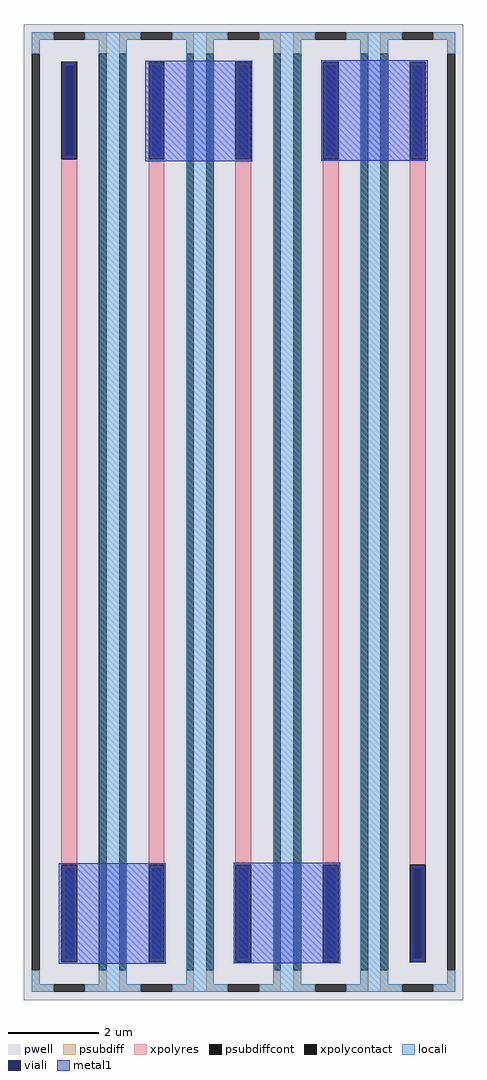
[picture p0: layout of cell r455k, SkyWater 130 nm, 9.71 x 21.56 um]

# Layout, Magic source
magic
tech sky130A
magscale 1 2
<< locali >>
rect -14634 -30902 -14514 -26662
rect -14252 -30902 -14132 -26662
rect -13866 -30902 -13746 -26662
rect -13482 -30902 -13362 -26662
<< metal1 >>
rect -14432 -27232 -13960 -26788
rect -13656 -27230 -13184 -26786
rect -14814 -30778 -14342 -30334
rect -14042 -30776 -13570 -30332
use sky130_fd_pr__res_xhigh_po_0p35_XJMT56  sky130_fd_pr__res_xhigh_po_0p35_XJMT56_1
transform 1 0 -14768 0 1 -28782
box -201 -2156 201 2156
use sky130_fd_pr__res_xhigh_po_0p35_XJMT56  sky130_fd_pr__res_xhigh_po_0p35_XJMT56_2
transform 1 0 -14383 0 1 -28782
box -201 -2156 201 2156
use sky130_fd_pr__res_xhigh_po_0p35_XJMT56  sky130_fd_pr__res_xhigh_po_0p35_XJMT56_3
transform 1 0 -13999 0 1 -28782
box -201 -2156 201 2156
use sky130_fd_pr__res_xhigh_po_0p35_XJMT56  sky130_fd_pr__res_xhigh_po_0p35_XJMT56_4
transform 1 0 -13613 0 1 -28782
box -201 -2156 201 2156
use sky130_fd_pr__res_xhigh_po_0p35_XJMT56  sky130_fd_pr__res_xhigh_po_0p35_XJMT56_5
transform 1 0 -13229 0 1 -28782
box -201 -2156 201 2156
<< end >>

# cell sky130_fd_pr__res_xhigh_po_0p35_XJMT56: kit device sky130_fd_pr__res_xhigh_po_0p35, w 0.350 l 15.74 m 1 nx 1 wmin 0.350 lmin 0.50 class resistor rho 2000 val 91.018k dummy 0 dw 0.0 term 188.2 sterm 0.0 caplen 0 wmax 0.350 guard 1 glc 1 grc 1 gtc 1 gbc 1 compatible {sky130_fd_pr__res_xhigh_po_0p35 sky130_fd_pr__res_xhigh_po_0p69 sky130_fd_pr__res_xhigh_po_1p41 sky130_fd_pr__res_xhigh_po_2p85 sky130_fd_pr__res_xhigh_po_5p73} snake 0 full_metal 1 n_guard 0 hv_guard 0 vias 1 viagb 0 viagt 0 viagl 0 viagr 0 doports 1
